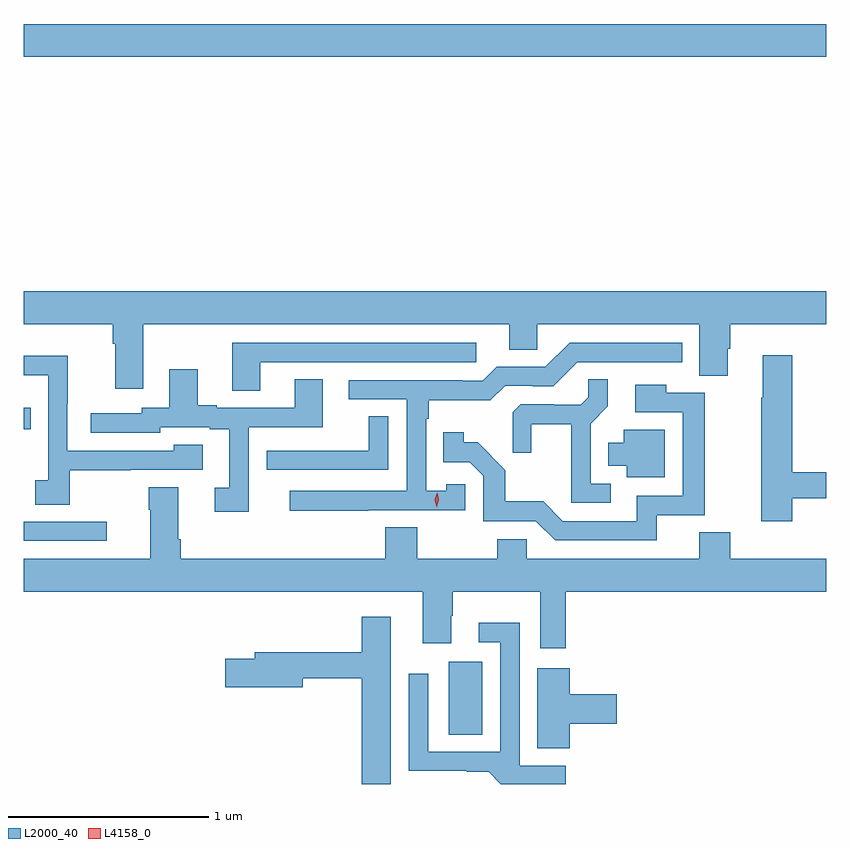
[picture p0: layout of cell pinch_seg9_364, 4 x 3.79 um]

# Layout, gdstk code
import gdstk
lib = gdstk.Library(unit=1e-6, precision=1e-09)
def R(c, l, rs):  # rectangles x0, y0, x1, y1
    for r in rs: c.add(gdstk.rectangle(r[:2], r[2:], *l))
def P(c, l, *ps):  # polygons
    for p in ps: c.add(gdstk.Polygon(p, *l))
L2000_40 = (2000, 40)
L4158_0 = (4158, 0)

pinch_seg9_364 = lib.new_cell('pinch_seg9_364')
R(pinch_seg9_364, L2000_40, [(384.677,1210.36,384.844,1210.723), (382.558,1211.325,382.972,1211.421), (382.558,1211.88,382.595,1211.989), (382.558,1213.736,386.558,1213.9)])
P(pinch_seg9_364, L2000_40, [(383.155,1212.404),(384.977,1212.404),(384.977,1212.277),(385.116,1212.277),(385.116,1212.404),(385.925,1212.404),(385.925,1212.148),(386.065,1212.148),(386.065,1212.282),(386.078,1212.282),(386.078,1212.404),(386.558,1212.404),(386.558,1212.568),(382.558,1212.568),(382.558,1212.404),(383.003,1212.404),(383.003,1212.308),(383.015,1212.308),(383.015,1212.084),(383.155,1212.084)],
  [(383.737,1212.216),(384.814,1212.216),(384.814,1212.312),(383.597,1212.312),(383.597,1212.073),(383.737,1212.073)],
  [(384.275,1211.478),(384.759,1211.478),(384.759,1211.607),(384.663,1211.607),(384.663,1211.575),(384.564,1211.575),(384.564,1211.933),(384.577,1211.933),(384.577,1212.026),(384.884,1212.026),(384.957,1212.099),(385.096,1212.099),(385.096,1212.096),(385.197,1212.096),(385.317,1212.216),(385.84,1212.216),(385.84,1212.312),(385.278,1212.312),(385.158,1212.192),(384.915,1212.192),(384.846,1212.123),(384.746,1212.123),(384.746,1212.126),(384.177,1212.126),(384.177,1212.03),(384.468,1212.03),(384.468,1211.574),(383.883,1211.574),(383.883,1211.476),(384.275,1211.476)],
  [(386.387,1211.538),(386.558,1211.538),(386.558,1211.666),(386.387,1211.666),(386.387,1212.25),(386.24,1212.25),(386.24,1212.037),(386.233,1212.037),(386.233,1211.424),(386.387,1211.424)],
  [(382.789,1211.677),(383.093,1211.677),(383.093,1211.679),(383.452,1211.679),(383.452,1211.803),(383.307,1211.803),(383.307,1211.775),(382.776,1211.775),(382.776,1212.008),(382.779,1212.008),(382.779,1212.247),(382.558,1212.247),(382.558,1212.149),(382.68,1212.149),(382.68,1211.628),(382.617,1211.628),(382.617,1211.506),(382.789,1211.506)],
  [(383.679,1211.892),(384.049,1211.892),(384.049,1212.131),(383.909,1212.131),(383.909,1211.988),(383.521,1211.988),(383.521,1212.001),(383.425,1212.001),(383.425,1212.181),(383.285,1212.181),(383.285,1211.988),(383.148,1211.988),(383.148,1211.961),(382.893,1211.961),(382.893,1211.865),(383.238,1211.865),(383.238,1211.892),(383.486,1211.892),(383.486,1211.88),(383.582,1211.88),(383.582,1211.589),(383.511,1211.589),(383.511,1211.469),(383.679,1211.469)],
  [(385.483,1211.61),(385.383,1211.61),(385.383,1211.909),(385.469,1211.995),(385.469,1212.131),(385.371,1212.131),(385.371,1212.04),(385.334,1212.003),(385.2,1212.003),(385.2,1212.006),(385.035,1212.006),(384.994,1211.965),(384.994,1211.763),(385.088,1211.763),(385.088,1211.906),(385.286,1211.906),(385.286,1211.514),(385.483,1211.514)],
  [(385.712,1211.454),(385.951,1211.454),(385.951,1212.063),(385.761,1212.063),(385.761,1212.103),(385.605,1212.103),(385.605,1211.967),(385.842,1211.967),(385.842,1211.55),(385.613,1211.55),(385.613,1211.424),(385.245,1211.424),(385.147,1211.523),(384.958,1211.523),(384.958,1211.678),(384.82,1211.816),(384.75,1211.816),(384.75,1211.866),(384.649,1211.866),(384.649,1211.718),(384.78,1211.718),(384.849,1211.649),(384.849,1211.424),(385.11,1211.424),(385.206,1211.328),(385.712,1211.328)],
  [(384.375,1211.945),(384.277,1211.945),(384.277,1211.775),(383.881,1211.775),(383.881,1211.774),(383.769,1211.774),(383.769,1211.679),(384.375,1211.679)],
  [(385.753,1211.878),(385.547,1211.878),(385.547,1211.815),(385.472,1211.815),(385.472,1211.699),(385.562,1211.699),(385.562,1211.642),(385.753,1211.642)],
  [(384.359,1211.393),(384.359,1211.236),(383.342,1211.236),(383.342,1211.332),(383.329,1211.332),(383.329,1211.593),(383.182,1211.593),(383.182,1211.48),(383.189,1211.48),(383.189,1211.236),(382.558,1211.236),(382.558,1211.072),(384.548,1211.072),(384.548,1210.815),(384.688,1210.815),(384.688,1210.952),(384.696,1210.952),(384.696,1211.072),(385.133,1211.072),(385.133,1210.791),(385.259,1210.791),(385.259,1211.072),(386.558,1211.072),(386.558,1211.236),(386.078,1211.236),(386.078,1211.369),(385.925,1211.369),(385.925,1211.236),(385.065,1211.236),(385.065,1211.334),(384.919,1211.334),(384.919,1211.236),(384.519,1211.236),(384.519,1211.393)],
  [(384.388,1210.948),(384.242,1210.948),(384.242,1210.771),(383.711,1210.771),(383.711,1210.737),(383.562,1210.737),(383.562,1210.595),(383.95,1210.595),(383.95,1210.642),(384.242,1210.642),(384.242,1210.114),(384.388,1210.114)],
  [(385.258,1210.206),(385.029,1210.206),(385.029,1210.918),(384.825,1210.918),(384.825,1210.821),(384.933,1210.821),(384.933,1210.275),(384.573,1210.275),(384.573,1210.663),(384.477,1210.663),(384.477,1210.179),(384.767,1210.179),(384.767,1210.174),(384.875,1210.174),(384.936,1210.114),(385.258,1210.114)],
  [(385.28,1210.415),(385.513,1210.415),(385.513,1210.562),(385.28,1210.562),(385.28,1210.69),(385.118,1210.69),(385.118,1210.291),(385.28,1210.291)])
P(pinch_seg9_364, L4158_0, [(384.617,1211.493),(384.617,1211.494),(384.607,1211.529),(384.618,1211.565),(384.618,1211.565),(384.618,1211.565),(384.627,1211.529),(384.617,1211.494)])

lib.write_gds('pinch_seg9_364.gds')
